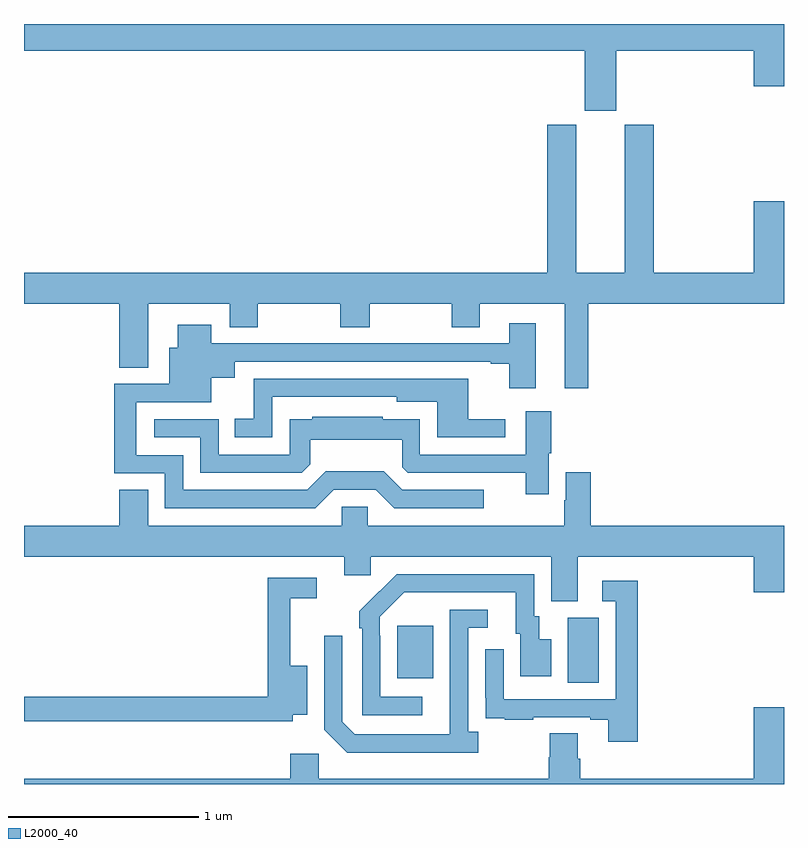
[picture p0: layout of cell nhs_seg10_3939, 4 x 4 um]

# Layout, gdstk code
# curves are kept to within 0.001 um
import gdstk
lib = gdstk.Library(unit=1e-6, precision=1e-09)
def R(c, l, rs):  # rectangles x0, y0, x1, y1
    for r in rs: c.add(gdstk.rectangle(r[:2], r[2:], *l))
def P(c, l, *ps):  # polygons
    for p in ps: c.add(gdstk.Polygon(p, *l))
L2000_40 = (2000, 40)

nhs_seg10_3939 = lib.new_cell('nhs_seg10_3939')
R(nhs_seg10_3939, L2000_40, [(331.862,1253.032,332.026,1253.376), (330.965,1253.057,331.153,1253.332)])
P(nhs_seg10_3939, L2000_40, [(332.116,1256.36),(332.84,1256.36),(332.84,1256.172),(333,1256.172),(333,1256.5),(329,1256.5),(329,1256.36),(331.952,1256.36),(331.952,1256.043),(332.116,1256.043)],
  [(331.969,1255.028),(333,1255.028),(333,1255.567),(332.84,1255.567),(332.84,1255.192),(332.315,1255.192),(332.315,1255.971),(332.162,1255.971),(332.162,1255.192),(331.906,1255.192),(331.906,1255.971),(331.754,1255.971),(331.754,1255.192),(329,1255.192),(329,1255.028),(329.501,1255.028),(329.501,1254.691),(329.653,1254.691),(329.653,1255.028),(330.083,1255.028),(330.083,1254.904),(330.231,1254.904),(330.231,1255.028),(330.664,1255.028),(330.664,1254.904),(330.819,1254.904),(330.819,1255.028),(331.252,1255.028),(331.252,1254.904),(331.399,1254.904),(331.399,1255.028),(331.847,1255.028),(331.847,1254.582),(331.969,1254.582)],
  [(330.63,1254.048),(330.852,1254.048),(330.948,1253.952),(331.42,1253.952),(331.42,1254.048),(330.99,1254.048),(330.893,1254.145),(330.589,1254.145),(330.492,1254.048),(329.838,1254.048),(329.838,1254.231),(329.592,1254.231),(329.592,1254.51),(329.986,1254.51),(329.986,1254.638),(330.109,1254.638),(330.109,1254.723),(331.457,1254.723),(331.457,1254.711),(331.553,1254.711),(331.553,1254.582),(331.693,1254.582),(331.693,1254.925),(331.553,1254.925),(331.553,1254.819),(331.163,1254.819),(331.163,1254.821),(330.907,1254.821),(330.907,1254.819),(330.575,1254.819),(330.575,1254.821),(330.319,1254.821),(330.319,1254.819),(329.986,1254.819),(329.986,1254.916),(329.81,1254.916),(329.81,1254.796),(329.765,1254.796),(329.765,1254.606),(329.476,1254.606),(329.476,1254.135),(329.742,1254.135),(329.742,1253.952),(330.534,1253.952)],
  [(330.306,1254.537),(330.963,1254.537),(330.963,1254.512),(331.175,1254.512),(331.175,1254.324),(331.534,1254.324),(331.534,1254.421),(331.339,1254.421),(331.339,1254.634),(331.063,1254.634),(331.063,1254.633),(330.209,1254.633),(330.209,1254.422),(330.109,1254.422),(330.109,1254.324),(330.306,1254.324)],
  [(331.762,1254.241),(331.775,1254.241),(331.775,1254.463),(331.64,1254.463),(331.64,1254.234),(331.083,1254.234),(331.083,1254.42),(330.888,1254.42),(330.888,1254.433),(330.516,1254.433),(330.516,1254.421),(330.399,1254.421),(330.399,1254.234),(330.024,1254.234),(330.024,1254.42),(329.685,1254.42),(329.685,1254.324),(329.928,1254.324),(329.928,1254.138),(330.462,1254.138),(330.507,1254.183),(330.507,1254.311),(330.99,1254.311),(330.99,1254.168),(331.02,1254.138),(331.64,1254.138),(331.64,1254.024),(331.762,1254.024)],
  [(330.672,1253.958),(330.672,1253.86),(329.653,1253.86),(329.653,1254.05),(329.501,1254.05),(329.501,1253.86),(329,1253.86),(329,1253.696),(330.686,1253.696),(330.686,1253.598),(330.825,1253.598),(330.825,1253.696),(331.775,1253.696),(331.775,1253.461),(331.915,1253.461),(331.915,1253.696),(332.84,1253.696),(332.84,1253.508),(333,1253.508),(333,1253.86),(331.982,1253.86),(331.982,1254.142),(331.85,1254.142),(331.85,1253.993),(331.843,1253.993),(331.843,1253.86),(330.81,1253.86),(330.81,1253.958)],
  [(331.096,1252.959),(330.876,1252.959),(330.876,1253.279),(330.873,1253.279),(330.873,1253.379),(331.002,1253.508),(331.589,1253.508),(331.589,1253.292),(331.613,1253.292),(331.613,1253.067),(331.774,1253.067),(331.774,1253.263),(331.711,1253.263),(331.711,1253.382),(331.686,1253.382),(331.686,1253.604),(330.962,1253.604),(330.765,1253.409),(330.765,1253.321),(330.78,1253.321),(330.78,1252.863),(331.096,1252.863)],
  [(330.414,1252.865),(330.49,1252.865),(330.49,1253.122),(330.401,1253.122),(330.401,1253.478),(330.541,1253.478),(330.541,1253.586),(330.283,1253.586),(330.283,1252.958),(329,1252.958),(329,1252.83),(330.414,1252.83)],
  [(332.231,1253.569),(332.043,1253.569),(332.043,1253.463),(332.115,1253.463),(332.115,1252.947),(331.524,1252.947),(331.524,1253.209),(331.428,1253.209),(331.428,1252.954),(331.429,1252.954),(331.429,1252.845),(331.531,1252.845),(331.531,1252.839),(331.679,1252.839),(331.679,1252.851),(331.979,1252.851),(331.979,1252.839),(332.075,1252.839),(332.075,1252.722),(332.231,1252.722)],
  [(331.39,1252.774),(331.338,1252.774),(331.338,1253.322),(331.441,1253.322),(331.441,1253.418),(331.242,1253.418),(331.241,1252.761),(330.741,1252.761),(330.675,1252.827),(330.675,1253.281),(330.579,1253.281),(330.579,1252.785),(330.7,1252.664),(331.39,1252.664)],
  [(329,1252.5),(333,1252.5),(333,1252.903),(332.84,1252.903),(332.84,1252.528),(331.928,1252.528),(331.928,1252.634),(331.915,1252.634),(331.915,1252.766),(331.768,1252.766),(331.768,1252.641),(331.763,1252.641),(331.763,1252.528),(330.552,1252.528),(330.552,1252.66),(330.401,1252.66),(330.401,1252.528),(329,1252.528)])

lib.write_gds('nhs_seg10_3939.gds')
